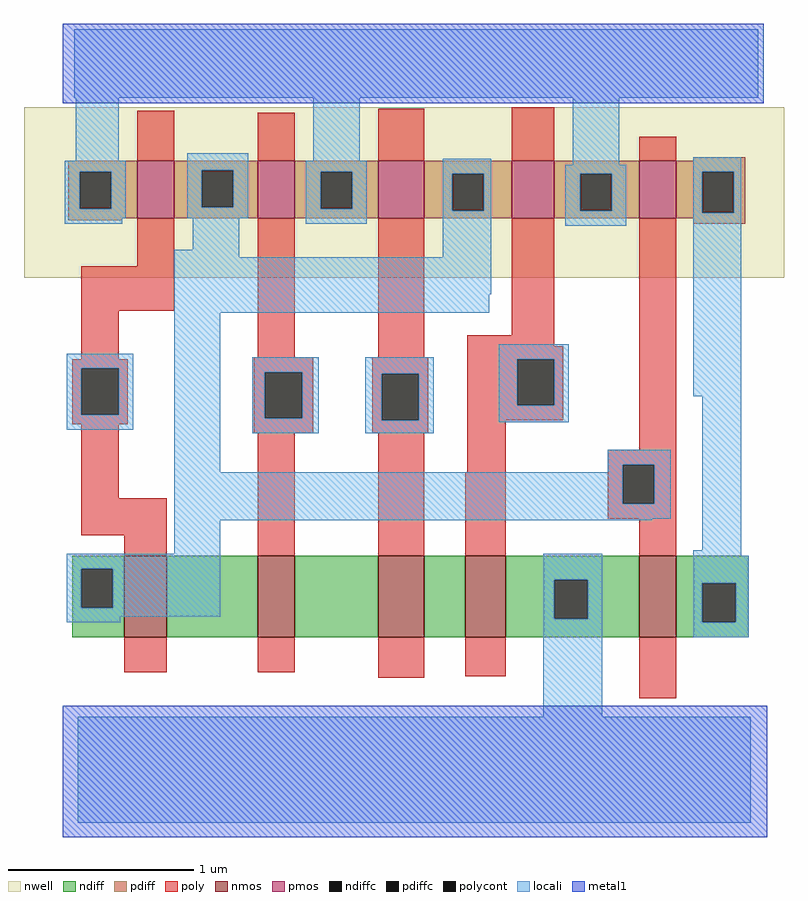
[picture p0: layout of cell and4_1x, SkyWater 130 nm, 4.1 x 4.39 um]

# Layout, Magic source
magic
tech sky130A
<< nwell >>
rect -121 24 289 116
<< nmos >>
rect -67 -170 -44 -126
rect 5 -170 25 -126
rect 70 -170 95 -126
rect 117 -170 139 -126
rect 211 -170 231 -126
<< pmos >>
rect -60 56 -40 87
rect 5 56 25 87
rect 70 56 95 87
rect 142 56 165 87
rect 211 56 231 87
<< ndiff >>
rect -95 -133 -67 -126
rect -95 -154 -90 -133
rect -73 -154 -67 -133
rect -95 -170 -67 -154
rect -44 -170 5 -126
rect 25 -170 70 -126
rect 95 -170 117 -126
rect 139 -139 211 -126
rect 139 -160 165 -139
rect 183 -160 211 -139
rect 139 -170 211 -160
rect 231 -141 270 -126
rect 231 -162 245 -141
rect 263 -162 270 -141
rect 231 -170 270 -162
<< pdiff >>
rect 240 87 268 89
rect -97 81 -60 87
rect -97 61 -91 81
rect -74 61 -60 81
rect -97 56 -60 61
rect -40 82 5 87
rect -40 62 -25 82
rect -8 62 5 82
rect -40 56 5 62
rect 25 81 70 87
rect 25 61 39 81
rect 56 61 70 81
rect 25 56 70 61
rect 95 80 142 87
rect 95 60 110 80
rect 127 60 142 80
rect 95 56 142 60
rect 165 80 211 87
rect 165 60 179 80
rect 196 60 211 80
rect 165 56 211 60
rect 231 81 268 87
rect 231 59 245 81
rect 262 59 268 81
rect 231 56 268 59
rect -97 55 -68 56
rect 240 53 268 56
<< ndiffc >>
rect -90 -154 -73 -133
rect 165 -160 183 -139
rect 245 -162 263 -141
<< pdiffc >>
rect -91 61 -74 81
rect -25 62 -8 82
rect 39 61 56 81
rect 110 60 127 80
rect 179 60 196 80
rect 245 59 262 81
<< poly >>
rect -60 87 -40 114
rect 5 87 25 113
rect 70 87 95 115
rect 142 87 165 116
rect 211 87 231 100
rect -60 30 -40 56
rect -90 6 -40 30
rect -90 -20 -70 6
rect 5 -19 25 56
rect 70 -19 95 56
rect 142 -7 165 56
rect 118 -13 165 -7
rect -95 -25 -65 -20
rect -95 -50 -90 -25
rect -70 -50 -65 -25
rect -95 -55 -65 -50
rect 3 -27 35 -19
rect 3 -52 9 -27
rect 29 -52 35 -27
rect -90 -95 -70 -55
rect 3 -60 35 -52
rect 67 -28 97 -19
rect 67 -53 72 -28
rect 92 -53 97 -28
rect 67 -60 97 -53
rect 118 -20 170 -13
rect 118 -45 145 -20
rect 165 -45 170 -20
rect 118 -53 170 -45
rect -90 -115 -44 -95
rect -67 -126 -44 -115
rect 5 -126 25 -60
rect 70 -126 95 -60
rect 118 -81 139 -53
rect 211 -69 231 56
rect 117 -126 139 -81
rect 194 -77 231 -69
rect 194 -98 202 -77
rect 219 -98 231 -77
rect 194 -106 231 -98
rect 211 -126 231 -106
rect -67 -189 -44 -170
rect 5 -189 25 -170
rect 70 -192 95 -170
rect 117 -191 139 -170
rect 211 -203 231 -170
<< polycont >>
rect -90 -50 -70 -25
rect 9 -52 29 -27
rect 72 -53 92 -28
rect 145 -45 165 -20
rect 202 -98 219 -77
<< locali >>
rect -94 121 275 158
rect -93 87 -70 121
rect -99 81 -66 87
rect -99 61 -91 81
rect -74 61 -66 81
rect -99 56 -66 61
rect -33 82 0 91
rect 35 87 60 121
rect -33 62 -25 82
rect -8 62 0 82
rect -33 56 0 62
rect 31 81 64 87
rect 31 61 39 81
rect 56 61 64 81
rect -99 53 -68 56
rect -30 39 -5 56
rect 31 53 64 61
rect 105 80 131 88
rect 175 85 200 121
rect 105 60 110 80
rect 127 60 131 80
rect -40 35 -5 39
rect 105 35 131 60
rect 171 80 204 85
rect 171 60 179 80
rect 196 60 204 80
rect 171 52 204 60
rect 240 81 266 89
rect 240 59 245 81
rect 262 59 266 81
rect -40 15 131 35
rect -40 5 130 15
rect -98 -25 -62 -17
rect -98 -50 -90 -25
rect -70 -50 -62 -25
rect -98 -58 -62 -50
rect -40 -81 -15 5
rect 2 -27 38 -19
rect 2 -52 9 -27
rect 29 -52 38 -27
rect 2 -60 38 -52
rect 63 -28 100 -19
rect 63 -53 72 -28
rect 92 -53 100 -28
rect 63 -60 100 -53
rect 135 -20 173 -12
rect 135 -45 145 -20
rect 165 -45 173 -20
rect 240 -40 266 59
rect 135 -54 173 -45
rect 194 -77 228 -69
rect 194 -81 202 -77
rect -40 -98 202 -81
rect 219 -98 228 -77
rect -40 -106 228 -98
rect -40 -107 218 -106
rect -40 -125 -15 -107
rect 245 -123 266 -40
rect -98 -133 -15 -125
rect -98 -154 -90 -133
rect -73 -154 -15 -133
rect -98 -159 -15 -154
rect 159 -139 191 -125
rect -98 -162 -69 -159
rect 159 -160 165 -139
rect 183 -160 191 -139
rect 159 -213 191 -160
rect 240 -126 266 -123
rect 240 -141 270 -126
rect 240 -162 245 -141
rect 263 -162 270 -141
rect 240 -170 270 -162
rect -92 -270 271 -213
<< metal1 >>
rect -100 118 278 161
rect -100 -278 280 -207
<< end >>
